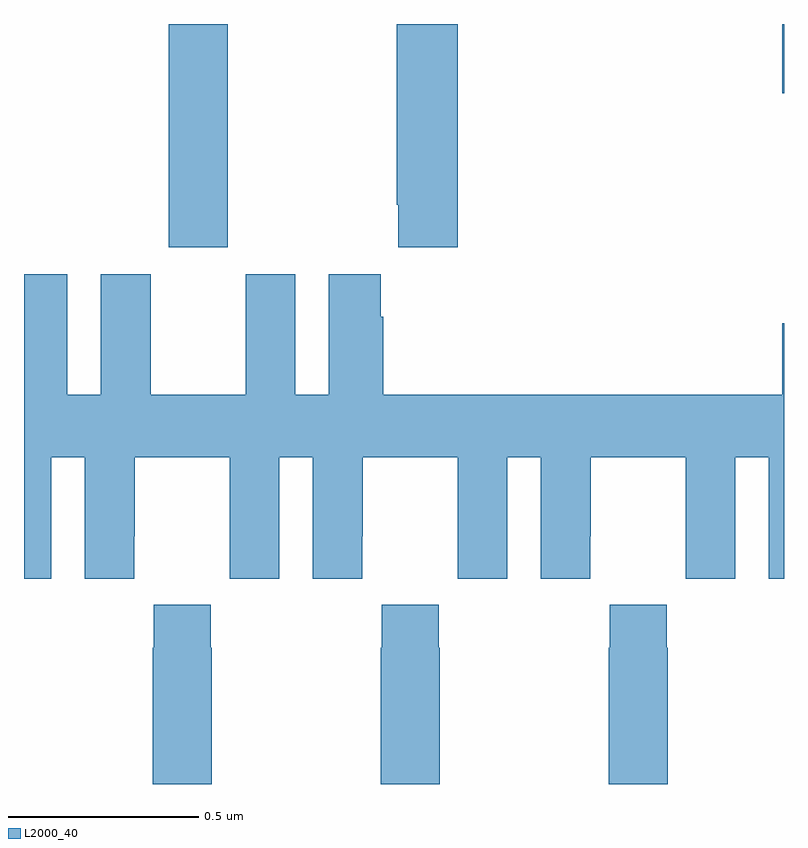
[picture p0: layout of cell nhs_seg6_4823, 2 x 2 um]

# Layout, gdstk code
import gdstk
lib = gdstk.Library(unit=1e-6, precision=1e-09)
def R(c, l, rs):  # rectangles x0, y0, x1, y1
    for r in rs: c.add(gdstk.rectangle(r[:2], r[2:], *l))
def P(c, l, *ps):  # polygons
    for p in ps: c.add(gdstk.Polygon(p, *l))
L2000_40 = (2000, 40)

nhs_seg6_4823 = lib.new_cell('nhs_seg6_4823')
R(nhs_seg6_4823, L2000_40, [(175.381,923.913,175.536,924.5), (176.996,924.318,177,924.5)])
P(nhs_seg6_4823, L2000_40, [(176.141,924.5),(175.981,924.5),(175.981,924.025),(175.985,924.025),(175.985,923.913),(176.141,923.913)],
  [(175.072,923.36),(175.16,923.36),(175.16,923.04),(175.29,923.04),(175.29,923.152),(175.291,923.152),(175.291,923.36),(175.541,923.36),(175.541,923.152),(175.542,923.152),(175.542,923.04),(175.672,923.04),(175.672,923.36),(175.76,923.36),(175.76,923.04),(175.89,923.04),(175.89,923.152),(175.891,923.152),(175.891,923.36),(176.141,923.36),(176.141,923.152),(176.142,923.152),(176.142,923.04),(176.272,923.04),(176.272,923.36),(176.36,923.36),(176.36,923.04),(176.49,923.04),(176.49,923.152),(176.491,923.152),(176.491,923.36),(176.741,923.36),(176.741,923.152),(176.742,923.152),(176.742,923.04),(176.872,923.04),(176.872,923.36),(176.96,923.36),(176.96,923.04),(177,923.04),(177,923.713),(176.996,923.713),(176.996,923.524),(175.946,923.524),(175.946,923.729),(175.939,923.729),(175.939,923.842),(175.802,923.842),(175.802,923.524),(175.714,923.524),(175.714,923.842),(175.583,923.842),(175.583,923.524),(175.333,923.524),(175.333,923.842),(175.202,923.842),(175.202,923.524),(175.114,923.524),(175.114,923.842),(175,923.842),(175,923.04),(175.072,923.04)],
  [(176.694,922.859),(176.691,922.859),(176.691,922.972),(176.541,922.972),(176.541,922.859),(176.539,922.859),(176.539,922.5),(176.694,922.5)],
  [(176.094,922.859),(176.091,922.859),(176.091,922.972),(175.941,922.972),(175.941,922.859),(175.939,922.859),(175.939,922.5),(176.094,922.5)],
  [(175.494,922.859),(175.491,922.859),(175.491,922.972),(175.341,922.972),(175.341,922.859),(175.339,922.859),(175.339,922.5),(175.494,922.5)])

lib.write_gds('nhs_seg6_4823.gds')
